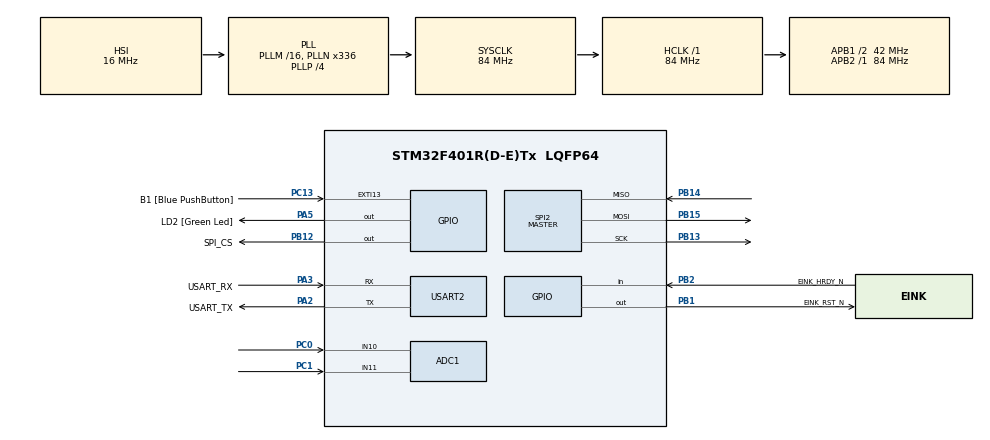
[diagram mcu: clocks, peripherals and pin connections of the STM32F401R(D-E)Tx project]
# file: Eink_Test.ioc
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ADC1.Channel-0\#ChannelRegularConversion=ADC_CHANNEL_10
ADC1.ContinuousConvMode=DISABLE
ADC1.DMAContinuousRequests=DISABLE
ADC1.NbrOfConversion=1
ADC1.NbrOfConversionFlag=1
ADC1.Rank-0\#ChannelRegularConversion=1
ADC1.SamplingTime-0\#ChannelRegularConversion=ADC_SAMPLETIME_3CYCLES
ADC1.ScanConvMode=DISABLE
ADC1.master=1
Mcu.Family=STM32F4
Mcu.Name=STM32F401R(D-E)Tx
Mcu.Package=LQFP64
NVIC.PriorityGroup=NVIC_PRIORITYGROUP_0
PA13.GPIO_Label=TMS
PA13.Mode=Serial_Wire
PA13.Signal=SYS_JTMS-SWDIO
PA14.GPIO_Label=TCK
PA14.Mode=Serial_Wire
PA14.Signal=SYS_JTCK-SWCLK
PA2.GPIO_Label=USART_TX
PA2.GPIO_Mode=GPIO_MODE_AF_PP
PA2.GPIO_PuPd=GPIO_NOPULL
PA2.GPIO_Speed=GPIO_SPEED_FREQ_LOW
PA2.Mode=Asynchronous
PA2.Signal=USART2_TX
PA3.GPIO_Label=USART_RX
PA3.GPIO_Mode=GPIO_MODE_AF_PP
PA3.GPIO_PuPd=GPIO_NOPULL
PA3.GPIO_Speed=GPIO_SPEED_FREQ_LOW
PA3.Mode=Asynchronous
PA3.Signal=USART2_RX
PA5.GPIO_Label=LD2 [Green Led]
PA5.GPIO_Mode=GPIO_MODE_OUTPUT_PP
PA5.GPIO_PuPd=GPIO_NOPULL
PA5.GPIO_Speed=GPIO_SPEED_FREQ_LOW
PA5.Signal=GPIO_Output
PB1.GPIO_Label=EINK_RST_N
PB1.Signal=GPIO_Output
PB12.GPIO_Label=SPI_CS
PB12.Signal=GPIO_Output
PB13.Mode=Full_Duplex_Master
PB13.Signal=SPI2_SCK
PB14.Mode=Full_Duplex_Master
PB14.Signal=SPI2_MISO
PB15.Mode=Full_Duplex_Master
PB15.Signal=SPI2_MOSI
PB2.GPIO_Label=EINK_HRDY_N
PB2.Signal=GPIO_Input
PB3.GPIO_Label=SWO
PB3.Signal=SYS_JTDO-SWO
PC0.Signal=ADCx_IN10
PC1.Signal=ADCx_IN11
PC13-ANTI_TAMP.GPIO_Label=B1 [Blue PushButton]
PC13-ANTI_TAMP.GPIO_ModeDefaultEXTI=GPIO_MODE_IT_FALLING
PC13-ANTI_TAMP.GPIO_PuPd=GPIO_NOPULL
PC13-ANTI_TAMP.Signal=GPXTI13
PC14-OSC32_IN.Mode=LSE-External-Oscillator
PC14-OSC32_IN.Signal=RCC_OSC32_IN
PC15-OSC32_OUT.Mode=LSE-External-Oscillator
PC15-OSC32_OUT.Signal=RCC_OSC32_OUT
PH0\ -\ OSC_IN.Mode=HSE-External-Clock-Source
PH0\ -\ OSC_IN.Signal=RCC_OSC_IN
PH1\ -\ OSC_OUT.Mode=HSE-External-Clock-Source
PH1\ -\ OSC_OUT.Signal=RCC_OSC_OUT
ProjectManager.HeapSize=0x200
ProjectManager.StackSize=0x400
ProjectManager.TargetToolchain=STM32CubeIDE
RCC.48MHZClocksFreq_Value=48000000
RCC.AHBFreq_Value=84000000
RCC.APB1CLKDivider=RCC_HCLK_DIV2
RCC.APB1Freq_Value=42000000
RCC.APB1TimFreq_Value=84000000
RCC.APB2Freq_Value=84000000
RCC.APB2TimFreq_Value=84000000
RCC.CortexFreq_Value=84000000
RCC.HCLKFreq_Value=84000000
RCC.HSE_VALUE=8000000
RCC.HSI_VALUE=16000000
RCC.PLLN=336
RCC.PLLP=RCC_PLLP_DIV4
RCC.PLLQ=7
RCC.SYSCLKFreq_VALUE=84000000
RCC.SYSCLKSource=RCC_SYSCLKSOURCE_PLLCLK
RCC.VCOOutputFreq_Value=336000000
SH.ADCx_IN10.0=ADC1_IN10,IN10
SH.ADCx_IN11.0=ADC1_IN11,IN11
SPI2.DataSize=SPI_DATASIZE_8BIT
SPI2.Direction=SPI_DIRECTION_2LINES
SPI2.Mode=SPI_MODE_MASTER
SPI2.VirtualType=VM_MASTER
USART2.VirtualMode=VM_ASYNC
board=NUCLEO-F401RE

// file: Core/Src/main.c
/* USER CODE BEGIN Header */
/**
  ******************************************************************************
  * @file           : main.c
  * @brief          : Main program body
  ******************************************************************************
  * @attention
  *
  * Copyright (c) 2025 STMicroelectronics.
  * All rights reserved.
  *
  * This software is licensed under terms that can be found in the LICENSE file
  * in the root directory of this software component.
  * If no LICENSE file comes with this software, it is provided AS-IS.
  *
  ******************************************************************************
  */
/* USER CODE END Header */
#include "main.h"

/* USER CODE BEGIN Includes */
#include <stdio.h>
#include "it8951.h"
/* USER CODE END Includes */

ADC_HandleTypeDef hadc1;

SPI_HandleTypeDef hspi2;

UART_HandleTypeDef huart2;

void SystemClock_Config(void);
static void MX_GPIO_Init(void);
static void MX_USART2_UART_Init(void);
static void MX_SPI2_Init(void);
static void MX_ADC1_Init(void);

/* USER CODE BEGIN 0 */

int fputc(int ch, FILE *f) {
    HAL_UART_Transmit(&huart2, (uint8_t *)&ch, 1, HAL_MAX_DELAY);
    return ch;
}

int __io_putchar(int ch) {
	/* Support printf over UART */
	(void) HAL_UART_Transmit(&huart2, (uint8_t *) &ch, 1, 0xFFFFU);
	return ch;
}

//void get_user_pos(uint16_t* coords_arr) {
//	HAL_ADC_Stop(&hadc1);
//	while (HAL_ADC_GetState(&hadc1) & HAL_ADC_STATE_BUSY);
//
//    HAL_ADC_Start(&hadc1);                     // start ADC
//
//    // first conversion channel 10, x axis
//    HAL_ADC_PollForConversion(&hadc1, 10);     // wait for conversion
//    uint16_t adc_value_chn10 = HAL_ADC_GetValue(&hadc1); // read result
//    uint16_t x_coord = (uint16_t)(0.5f + (float)adc_value_chn10 / 4095.0f * (((float)IT8951_PANEL_WIDTH - (float)cursor_size) / (float)cursor_size));
//    uint16_t user_x_coord = x_coord * (uint16_t)cursor_size;
//    coords_arr[0] = user_x_coord;
//
//    //second conversion channel 11, y axis
//    HAL_ADC_PollForConversion(&hadc1, 10);     // wait for conversion
//	uint16_t adc_value_chn11 = HAL_ADC_GetValue(&hadc1); // read result
//	uint16_t y_coord = (uint16_t)(0.5f + (float)adc_value_chn11 / 4095.0f * (((float)IT8951_PANEL_HEIGHT - (float)cursor_size) / (float)cursor_size));
//	uint16_t user_y_coord = y_coord * (uint16_t)cursor_size;
//    coords_arr[1] = user_y_coord;
//    HAL_ADC_Stop(&hadc1);       // stop ADC
//
//    HAL_Delay(10);
//}
uint16_t adc_read_channel(uint32_t channel)
{
    ADC_ChannelConfTypeDef sConfig = {0};

    sConfig.Channel = channel;
    sConfig.Rank = 1;
    sConfig.SamplingTime = ADC_SAMPLETIME_3CYCLES;

    HAL_ADC_ConfigChannel(&hadc1, &sConfig);

    HAL_ADC_Start(&hadc1);
    HAL_ADC_PollForConversion(&hadc1, HAL_MAX_DELAY);
    uint32_t value = HAL_ADC_GetValue(&hadc1);
    HAL_ADC_Stop(&hadc1);

    return ((uint16_t)(value & 0x0FFF));
}

void get_user_pos(uint16_t* coords_arr) {
    uint16_t adc_value_chn10 = adc_read_channel(ADC_CHANNEL_10);
    uint16_t adc_value_chn11 = adc_read_channel(ADC_CHANNEL_11);

    printf("chn10: %d\r\n\n", adc_value_chn10);
    printf("chn11: %d\r\n\n", adc_value_chn11);

    uint16_t x_coord = (uint16_t)(0.5f + (float)adc_value_chn10 / 4095.0f *
        (((float)IT8951_PANEL_WIDTH - (float)cursor_size) / (float)cursor_size));

    uint16_t y_coord = (uint16_t)(0.5f + (float)adc_value_chn11 / 4095.0f *
        (((float)IT8951_PANEL_HEIGHT - (float)cursor_size) / (float)cursor_size));

    coords_arr[0] = x_coord * (uint16_t)cursor_size;
    coords_arr[1] = y_coord * (uint16_t)cursor_size;
}

uint8_t cursor[cursor_size*cursor_size];

//static uint16_t adc_buf[2];

/* USER CODE END 0 */

int main(void)
{

  /* MCU Configuration--------------------------------------------------------*/

  /* Reset of all peripherals, Initializes the Flash interface and the Systick. */
  HAL_Init();

  /* Configure the system clock */
  SystemClock_Config();

  /* Initialize all configured peripherals */
  MX_GPIO_Init();
  MX_USART2_UART_Init();
  MX_SPI2_Init();
  MX_ADC1_Init();
  /* USER CODE BEGIN 2 */

  GPIO_pin eink_CS_N = {
		  .pin_type = GPIOB,
		  .pin_number = GPIO_PIN_12
  };

  GPIO_pin eink_HRDY_N = {
		  .pin_type = GPIOB,
    	  .pin_number = GPIO_PIN_2
  };

  GPIO_pin eink_RST_N = {
		  .pin_type = GPIOB,
		  .pin_number = GPIO_PIN_1
  };

  it8951_spi waveshare_eink_pins = {
		  .spi_handler = &hspi2,
		  .CS_N = &eink_CS_N,
		  .HRDY_N = &eink_HRDY_N,
		  .RST_N = &eink_RST_N
  };

  eink_device_info waveshare_device_info = {0}; // init values

  it8951_init(&waveshare_eink_pins, &waveshare_device_info);

  for (int i=0; i<cursor_size*cursor_size; i++) {
    cursor[i] = 0x00; // black
  }

  uint16_t cursor_coords[2] = {0,0}; // (x, y)

//  uint8_t test_img[16*16];
//
//  for (uint16_t x=0; x<1000; x+=100) {
//	  for (int i=0; i<16*16; i++) {
//		  test_img[i] = 0x00; // black
//	  }
//
//	  loadPartialImage(&waveshare_eink_pins, &waveshare_device_info, test_img, x, x, 16, 16);
//	  displayPartialImage(&waveshare_eink_pins, x, x, 16, 16, IT8951_MODE_4);
//
//	  HAL_Delay(500);
//
//	  for (int i=0; i<16*16; i++) {
//		  test_img[i] = 0xFF; // white
//	  }
//
//	  loadPartialImage(&waveshare_eink_pins, &waveshare_device_info, test_img, x, x, 16, 16);
//	  displayPartialImage(&waveshare_eink_pins, x, x, 16, 16, IT8951_MODE_4);
//  }

  HAL_Delay(500);

  clearScreen(&waveshare_eink_pins, &waveshare_device_info);

//  printf("Before ADC DMA start\r\n");
//  printf("DMA handle = %p\n", hadc1.DMA_Handle);
//  printf("DMA instance = %p\n", hdma_adc1.Instance);
//  printf("DMA channel = %lu\n", hdma_adc1.Init.Channel);
//  printf("ADC CR2 = 0x%08lx\n", ADC1->CR2);
//  printf("ADC SR = 0x%08lx\n", ADC1->SR);
//  HAL_ADC_Start_DMA(&hadc1, (uint32_t*)adc_buf, 2);
//  printf("After ADC DMA start\r\n");
  /* USER CODE END 2 */

  /* Infinite loop */
  while (1)
  {

    /* USER CODE BEGIN 3 */

//	  printf("Panel Width: %d\r\n", waveshare_device_info.panel_width);
//	  printf("Panel Height: %d\r\n",waveshare_device_info.panel_height);

	  get_user_pos(cursor_coords);
//	  printf("X-coord: %d\r\n\n", adc_buf[0]);

	  loadPartialImage(&waveshare_eink_pins, &waveshare_device_info, cursor, cursor_coords[0], cursor_coords[1], cursor_size, cursor_size);
	  displayPartialImage(&waveshare_eink_pins, cursor_coords[0], cursor_coords[1], cursor_size, cursor_size, IT8951_MODE_4);
  }
  /* USER CODE END 3 */
}

void SystemClock_Config(void)
{
  RCC_OscInitTypeDef RCC_OscInitStruct = {0};
  RCC_ClkInitTypeDef RCC_ClkInitStruct = {0};

  /** Configure the main internal regulator output voltage
  */
  __HAL_RCC_PWR_CLK_ENABLE();
  __HAL_PWR_VOLTAGESCALING_CONFIG(PWR_REGULATOR_VOLTAGE_SCALE2);

  /** Initializes the RCC Oscillators according to the specified parameters
  * in the RCC_OscInitTypeDef structure.
  */
  RCC_OscInitStruct.OscillatorType = RCC_OSCILLATORTYPE_HSI;
  RCC_OscInitStruct.HSIState = RCC_HSI_ON;
  RCC_OscInitStruct.HSICalibrationValue = RCC_HSICALIBRATION_DEFAULT;
  RCC_OscInitStruct.PLL.PLLState = RCC_PLL_ON;
  RCC_OscInitStruct.PLL.PLLSource = RCC_PLLSOURCE_HSI;
  RCC_OscInitStruct.PLL.PLLM = 16;
  RCC_OscInitStruct.PLL.PLLN = 336;
  RCC_OscInitStruct.PLL.PLLP = RCC_PLLP_DIV4;
  RCC_OscInitStruct.PLL.PLLQ = 7;
  if (HAL_RCC_OscConfig(&RCC_OscInitStruct) != HAL_OK)
  {
    Error_Handler();
  }

  /** Initializes the CPU, AHB and APB buses clocks
  */
  RCC_ClkInitStruct.ClockType = RCC_CLOCKTYPE_HCLK|RCC_CLOCKTYPE_SYSCLK
                              |RCC_CLOCKTYPE_PCLK1|RCC_CLOCKTYPE_PCLK2;
  RCC_ClkInitStruct.SYSCLKSource = RCC_SYSCLKSOURCE_PLLCLK;
  RCC_ClkInitStruct.AHBCLKDivider = RCC_SYSCLK_DIV1;
  RCC_ClkInitStruct.APB1CLKDivider = RCC_HCLK_DIV2;
  RCC_ClkInitStruct.APB2CLKDivider = RCC_HCLK_DIV1;

  if (HAL_RCC_ClockConfig(&RCC_ClkInitStruct, FLASH_LATENCY_2) != HAL_OK)
  {
    Error_Handler();
  }
}

static void MX_ADC1_Init(void)
{

  ADC_ChannelConfTypeDef sConfig = {0};

  /** Configure the global features of the ADC (Clock, Resolution, Data Alignment and number of conversion)
  */
  hadc1.Instance = ADC1;
  hadc1.Init.ClockPrescaler = ADC_CLOCK_SYNC_PCLK_DIV4;
  hadc1.Init.Resolution = ADC_RESOLUTION_12B;
  hadc1.Init.ScanConvMode = DISABLE;
  hadc1.Init.ContinuousConvMode = DISABLE;
  hadc1.Init.DiscontinuousConvMode = DISABLE;
  hadc1.Init.ExternalTrigConvEdge = ADC_EXTERNALTRIGCONVEDGE_NONE;
  hadc1.Init.ExternalTrigConv = ADC_SOFTWARE_START;
  hadc1.Init.DataAlign = ADC_DATAALIGN_RIGHT;
  hadc1.Init.NbrOfConversion = 1;
  hadc1.Init.DMAContinuousRequests = DISABLE;
  hadc1.Init.EOCSelection = ADC_EOC_SINGLE_CONV;
  if (HAL_ADC_Init(&hadc1) != HAL_OK)
  {
    Error_Handler();
  }

  /** Configure for the selected ADC regular channel its corresponding rank in the sequencer and its sample time.
  */
  sConfig.Channel = ADC_CHANNEL_10;
  sConfig.Rank = 1;
  sConfig.SamplingTime = ADC_SAMPLETIME_3CYCLES;
  if (HAL_ADC_ConfigChannel(&hadc1, &sConfig) != HAL_OK)
  {
    Error_Handler();
  }

}

static void MX_SPI2_Init(void)
{

  /* SPI2 parameter configuration*/
  hspi2.Instance = SPI2;
  hspi2.Init.Mode = SPI_MODE_MASTER;
  hspi2.Init.Direction = SPI_DIRECTION_2LINES;
  hspi2.Init.DataSize = SPI_DATASIZE_8BIT;
  hspi2.Init.CLKPolarity = SPI_POLARITY_LOW;
  hspi2.Init.CLKPhase = SPI_PHASE_1EDGE;
  hspi2.Init.NSS = SPI_NSS_SOFT;
  hspi2.Init.BaudRatePrescaler = SPI_BAUDRATEPRESCALER_2;
  hspi2.Init.FirstBit = SPI_FIRSTBIT_MSB;
  hspi2.Init.TIMode = SPI_TIMODE_DISABLE;
  hspi2.Init.CRCCalculation = SPI_CRCCALCULATION_DISABLE;
  hspi2.Init.CRCPolynomial = 10;
  if (HAL_SPI_Init(&hspi2) != HAL_OK)
  {
    Error_Handler();
  }

}

static void MX_USART2_UART_Init(void)
{

  huart2.Instance = USART2;
  huart2.Init.BaudRate = 115200;
  huart2.Init.WordLength = UART_WORDLENGTH_8B;
  huart2.Init.StopBits = UART_STOPBITS_1;
  huart2.Init.Parity = UART_PARITY_NONE;
  huart2.Init.Mode = UART_MODE_TX_RX;
  huart2.Init.HwFlowCtl = UART_HWCONTROL_NONE;
  huart2.Init.OverSampling = UART_OVERSAMPLING_16;
  if (HAL_UART_Init(&huart2) != HAL_OK)
  {
    Error_Handler();
  }

}

static void MX_GPIO_Init(void)
{
  GPIO_InitTypeDef GPIO_InitStruct = {0};

  /* GPIO Ports Clock Enable */
  __HAL_RCC_GPIOC_CLK_ENABLE();
  __HAL_RCC_GPIOH_CLK_ENABLE();
  __HAL_RCC_GPIOA_CLK_ENABLE();
  __HAL_RCC_GPIOB_CLK_ENABLE();

  /*Configure GPIO pin Output Level */
  HAL_GPIO_WritePin(LD2_GPIO_Port, LD2_Pin, GPIO_PIN_RESET);

  /*Configure GPIO pin Output Level */
  HAL_GPIO_WritePin(GPIOB, EINK_RST_N_Pin|SPI_CS_Pin, GPIO_PIN_RESET);

  /*Configure GPIO pin : B1_Pin */
  GPIO_InitStruct.Pin = B1_Pin;
  GPIO_InitStruct.Mode = GPIO_MODE_IT_FALLING;
  GPIO_InitStruct.Pull = GPIO_NOPULL;
  HAL_GPIO_Init(B1_GPIO_Port, &GPIO_InitStruct);

  /*Configure GPIO pin : LD2_Pin */
  GPIO_InitStruct.Pin = LD2_Pin;
  GPIO_InitStruct.Mode = GPIO_MODE_OUTPUT_PP;
  GPIO_InitStruct.Pull = GPIO_NOPULL;
  GPIO_InitStruct.Speed = GPIO_SPEED_FREQ_LOW;
  HAL_GPIO_Init(LD2_GPIO_Port, &GPIO_InitStruct);

  /*Configure GPIO pins : EINK_RST_N_Pin SPI_CS_Pin */
  GPIO_InitStruct.Pin = EINK_RST_N_Pin|SPI_CS_Pin;
  GPIO_InitStruct.Mode = GPIO_MODE_OUTPUT_PP;
  GPIO_InitStruct.Pull = GPIO_NOPULL;
  GPIO_InitStruct.Speed = GPIO_SPEED_FREQ_LOW;
  HAL_GPIO_Init(GPIOB, &GPIO_InitStruct);

  /*Configure GPIO pin : EINK_HRDY_N_Pin */
  GPIO_InitStruct.Pin = EINK_HRDY_N_Pin;
  GPIO_InitStruct.Mode = GPIO_MODE_INPUT;
  GPIO_InitStruct.Pull = GPIO_NOPULL;
  HAL_GPIO_Init(EINK_HRDY_N_GPIO_Port, &GPIO_InitStruct);

}

void Error_Handler(void)
{
  __disable_irq();
  while (1)
  {
  }
}
